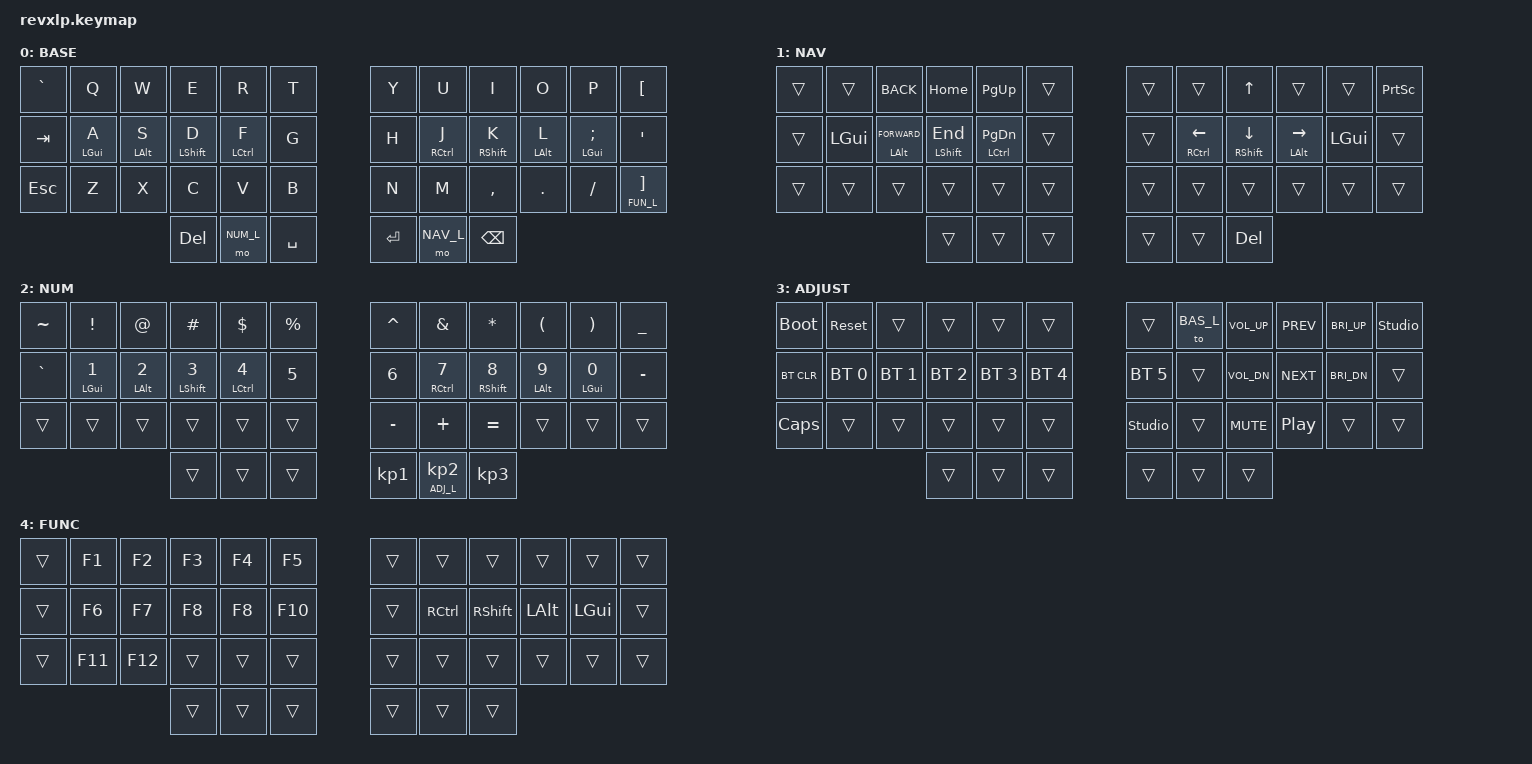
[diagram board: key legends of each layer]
/*
 * Copyright (c) 2020 The ZMK Contributors
 *
 * SPDX-License-Identifier: MIT
 */

#include <behaviors.dtsi>
#include <dt-bindings/zmk/keys.h>
#include <dt-bindings/zmk/bt.h>
#include <dt-bindings/zmk/outputs.h>

#define BAS_L 0
#define NAV_L 1
#define NUM_L 2
#define ADJ_L 3
#define FUN_L 4

&lt { 
    quick_tap_ms = <0>; 
    tapping-term-ms = <250>; 
};

&mt { 
  flavor = "balanced";
  quick-tap-ms = <0>;
  tapping-term-ms = <250>; 
};


/ {
    combos {
        compatible = "zmk,combos";

        ParaLeft {
            bindings = <&kp LEFT_PARENTHESIS>;
            key-positions = <4 5>;
            timeout-ms = <20>;
        };

        ParaRight {
            bindings = <&kp RIGHT_PARENTHESIS>;
            key-positions = <6 7>;
            timeout-ms = <20>;
        };

        BrakLeft {
            bindings = <&kp LEFT_BRACKET>;
            key-positions = <16 17>;
            timeout-ms = <20>;
        };

        BrakRight {
            bindings = <&kp RIGHT_BRACKET>;
            key-positions = <18 19>;
            timeout-ms = <20>;
        };

        BraceLeft {
            bindings = <&kp LEFT_BRACE>;
            key-positions = <28 29>;
            timeout-ms = <20>;
        };

        BraceRight {
            bindings = <&kp RIGHT_BRACE>;
            key-positions = <30 31>;
            timeout-ms = <20>;
        };

        DoubleQuote {
            bindings = <&kp DOUBLE_QUOTES>;
            key-positions = <15 16>;
            timeout-ms = <20>;
        };

        SingleQuote {
            bindings = <&kp APOSTROPHE>;
            key-positions = <19 20>;
            timeout-ms = <20>;
        };

        MinusSign {
            bindings = <&kp MINUS>;
            key-positions = <3 4>;
            timeout-ms = <20>;
        };

        PlusSign {
            bindings = <&kp PLUS>;
            key-positions = <2 3>;
            timeout-ms = <20>;
        };

        UnderscoreSign {
            bindings = <&kp UNDERSCORE>;
            key-positions = <7 8>;
            timeout-ms = <20>;
        };

        PipeSign {
            bindings = <&kp PIPE>;
            key-positions = <8 9>;
            timeout-ms = <20>;
        };

        UnLock {
            bindings = <&studio_unlock>;
            key-positions = <0 11>;
            timeout-ms = <20>;
        };
    
    };
};

/{
    keymap {
        compatible = "zmk,keymap";

        qwerty_layer {
            display-name = "BASE";
            bindings = <
             // ╭─────────────┬─────────────┬─────────────┬─────────────┬─────────────┬─────────────╮   ╭─────────────┬─────────────┬─────────────┬─────────────┬─────────────┬─────────────╮ 
                   &kp GRAVE      &kp Q         &kp W        &kp E          &kp R         &kp T             &kp Y        &kp U          &kp I        &kp O         &kp P        &kp LEFT_BRACKET
             // ├─────────────┼─────────────┼─────────────┼─────────────┼─────────────┼─────────────┤   ├─────────────┼─────────────┼─────────────┼─────────────┼─────────────┼─────────────┤
                   &kp TAB       &mt LGUI A    &mt LALT S  &mt LSHIFT D  &mt LCTRL F     &kp G              &kp H       &mt RCTRL J  &mt RSHIFT K   &mt LALT L   &mt LGUI SEMI   &kp SQT
             // ├─────────────┼─────────────┼─────────────┼─────────────┼─────────────┼─────────────┤   ├─────────────┼─────────────┼─────────────┼─────────────┼─────────────┼─────────────┤
                   &kp ESC        &kp Z         &kp X        &kp C          &kp V         &kp B             &kp N         &kp M       &kp COMMA      &kp DOT      &kp FSLH      &lt FUN_L RIGHT_BRACKET
             // ╰─────────────┴─────────────┼─────────────┼─────────────┼─────────────┼─────────────┤   ├─────────────┼─────────────┼─────────────┼─────────────┼─────────────┴─────────────╯
                                                               &kp DEL      &mo NUM_L     &kp SPACE          &kp RET      &mo NAV_L     &kp BSPC
             //                                           ╰─────────────┴─────────────┴─────────────╯   ╰─────────────┴─────────────┴─────────────╯
            >;
        };

        nav_layer {
            display-name = "NAV";
            bindings = <
             // ╭─────────────┬─────────────┬─────────────┬─────────────┬─────────────┬─────────────╮   ╭─────────────┬─────────────┬─────────────┬─────────────┬─────────────┬─────────────╮ 
                    &trans        &trans      &kp K_BACK      &kp HOME    &kp PG_UP       &trans            &trans        &trans         &kp UP       &trans        &trans       &kp PSCRN
             // ├─────────────┼─────────────┼─────────────┼─────────────┼─────────────┼─────────────┤   ├─────────────┼─────────────┼─────────────┼─────────────┼─────────────┼─────────────┤
                    &trans      &kp LGUI &mt LALT K_FORWARD &mt LSHIFT END &mt LCTRL PG_DN  &trans          &trans    &mt RCTRL LEFT &mt RSHIFT DOWN &mt LALT RIGHT &kp LEFT_GUI    &trans
             // ├─────────────┼─────────────┼─────────────┼─────────────┼─────────────┼─────────────┤   ├─────────────┼─────────────┼─────────────┼─────────────┼─────────────┼─────────────┤
                    &trans        &trans         &trans       &trans        &trans        &trans            &trans        &trans         &trans       &trans        &trans        &trans
             // ╰─────────────┴─────────────┼─────────────┼─────────────┼─────────────┼─────────────┤   ├─────────────┼─────────────┼─────────────┼─────────────┼─────────────┴─────────────╯
                                                              &trans        &trans        &trans            &trans        &trans        &kp DEL
             //                                           ╰─────────────┴─────────────┴─────────────╯   ╰─────────────┴─────────────┴─────────────╯
            >;
        };

        num_layer {
            display-name = "NUM";
            bindings = <
             // ╭─────────────┬─────────────┬─────────────┬─────────────┬─────────────┬─────────────╮   ╭─────────────┬─────────────┬─────────────┬─────────────┬─────────────┬─────────────╮ 
                    &kp TILDE      &kp EXCL      &kp AT       &kp HASH       &kp DLLR     &kp PRCNT         &kp CARET     &kp AMPS      &kp ASTRK     &kp LPAR       &kp RPAR     &kp UNDER
             // ├─────────────┼─────────────┼─────────────┼─────────────┼─────────────┼─────────────┤   ├─────────────┼─────────────┼─────────────┼─────────────┼─────────────┼─────────────┤
                    &kp GRAVE   &mt LGUI N1   &mt LALT N2  &mt LSHIFT N3  &mt LCTRL N4    &kp N5            &kp N6     &mt RCTRL N7  &mt RSHIFT N8  &mt LALT N9  &mt LEFT_GUI N0  &kp MINUS
             // ├─────────────┼─────────────┼─────────────┼─────────────┼─────────────┼─────────────┤   ├─────────────┼─────────────┼─────────────┼─────────────┼─────────────┼─────────────┤
                    &trans        &trans        &trans        &trans        &trans        &trans            &kp MINUS     &kp PLUS     &kp EQUAL      &trans        &trans       &trans
             // ╰─────────────┴─────────────┼─────────────┼─────────────┼─────────────┼─────────────┤   ├─────────────┼─────────────┼─────────────┼─────────────┼─────────────┴─────────────╯
                                                              &trans        &trans        &trans           &kp KP_N1  &lt ADJ_L KP_N2  &kp KP_N3
             //                                           ╰─────────────┴─────────────┴─────────────╯   ╰─────────────┴─────────────┴─────────────╯
            >;
        };

        media_layer {
            display-name = "ADJUST";
            bindings = <
             // ╭─────────────┬─────────────┬─────────────┬─────────────┬─────────────┬─────────────╮   ╭─────────────┬─────────────┬─────────────┬─────────────┬─────────────┬─────────────╮ 
                  &bootloader   &sys_reset       &trans     &trans        &trans        &trans             &trans      &to BAS_L    &kp C_VOL_UP  &kp C_PREV    &kp C_BRI_UP  &studio_unlock
             // ├─────────────┼─────────────┼─────────────┼─────────────┼─────────────┼─────────────┤   ├─────────────┼─────────────┼─────────────┼─────────────┼─────────────┼─────────────┤
                   &bt BT_CLR  &bt BT_SEL 0  &bt BT_SEL 1  &bt BT_SEL 2  &bt BT_SEL 3  &bt BT_SEL 4      &bt BT_SEL 5     &trans      &kp C_VOL_DN  &kp C_NEXT    &kp C_BRI_DN    &trans
             // ├─────────────┼─────────────┼─────────────┼─────────────┼─────────────┼─────────────┤   ├─────────────┼─────────────┼─────────────┼─────────────┼─────────────┼─────────────┤
                    &kp CAPS      &trans        &trans        &trans        &trans        &trans         &studio_unlock   &trans       &kp C_MUTE    &kp C_PP       &trans       &trans
             // ╰─────────────┴─────────────┼─────────────┼─────────────┼─────────────┼─────────────┤   ├─────────────┼─────────────┼─────────────┼─────────────┼─────────────┴─────────────╯
                                                              &trans        &trans        &trans            &trans        &trans        &trans
             //                                           ╰─────────────┴─────────────┴─────────────╯   ╰─────────────┴─────────────┴─────────────╯
            >;
        };

        FUN_Layer {
            display-name = "FUNC";
            bindings = <
             // ╭─────────────┬─────────────┬─────────────┬─────────────┬─────────────┬─────────────╮   ╭─────────────┬─────────────┬─────────────┬─────────────┬─────────────┬─────────────╮ 
                    &trans        &kp F1        &kp F2        &kp F3        &kp F4        &kp F5            &trans        &trans        &trans        &trans        &trans        &trans
             // ├─────────────┼─────────────┼─────────────┼─────────────┼─────────────┼─────────────┤   ├─────────────┼─────────────┼─────────────┼─────────────┼─────────────┼─────────────┤
                    &trans        &kp F6        &kp F7        &kp F8        &kp F8        &kp F10           &trans      &kp RCTRL      &kp RSHIFT     &kp LALT      &kp LGUI      &trans 
             // ├─────────────┼─────────────┼─────────────┼─────────────┼─────────────┼─────────────┤   ├─────────────┼─────────────┼─────────────┼─────────────┼─────────────┼─────────────┤
                    &trans        &kp F11       &kp F12        &trans        &trans       &trans            &trans        &trans        &trans        &trans        &trans        &trans
             // ╰─────────────┴─────────────┼─────────────┼─────────────┼─────────────┼─────────────┤   ├─────────────┼─────────────┼─────────────┼─────────────┼─────────────┴─────────────╯
                                                              &trans        &trans        &trans            &trans        &trans        &trans 
             //                                           ╰─────────────┴─────────────┴─────────────╯   ╰─────────────┴─────────────┴─────────────╯
            >;
        };

        res1 {
            status = "reserved";
            display-name = "New Layer";
        };

        res2 {
            status = "reserved";
            display-name = "New Layer";
        };

        res3 {
            status = "reserved";
            display-name = "New Layer";
        };
    };
    
};
